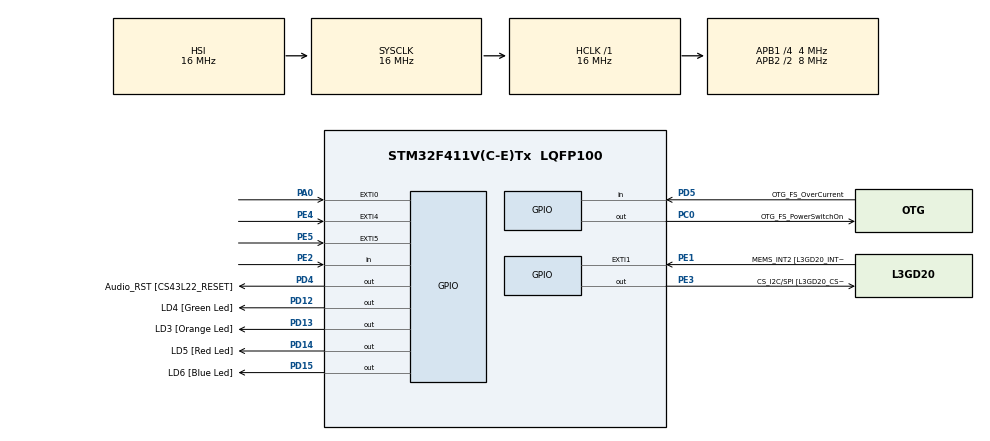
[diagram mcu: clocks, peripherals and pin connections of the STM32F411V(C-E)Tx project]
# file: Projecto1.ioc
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FREERTOS.INCLUDE_vTaskDelayUntil=1
FREERTOS.Tasks01=defaultTask,0,128,StartDefaultTask,Default,NULL,Dynamic,NULL,NULL
FREERTOS.configUSE_NEWLIB_REENTRANT=1
Mcu.Family=STM32F4
Mcu.Name=STM32F411V(C-E)Tx
Mcu.Package=LQFP100
NVIC.EXTI0_IRQn=true\:5\:0\:false\:false\:true\:true\:true\:true\:true
NVIC.PriorityGroup=NVIC_PRIORITYGROUP_4
NVIC.TIM3_IRQn=true\:15\:0\:false\:false\:true\:false\:false\:true\:true
NVIC.TimeBase=TIM3_IRQn
NVIC.TimeBaseIP=TIM3
PA0-WKUP.Signal=GPXTI0
PA10.GPIO_Label=OTG_FS_ID
PA10.Signal=USB_OTG_FS_ID
PA11.GPIO_Label=OTG_FS_DM
PA11.Signal=USB_OTG_FS_DM
PA12.GPIO_Label=OTG_FS_DP
PA12.Signal=USB_OTG_FS_DP
PA13.GPIO_Label=SWDIO
PA13.Mode=Serial_Wire
PA13.Signal=SYS_JTMS-SWDIO
PA14.GPIO_Label=SWCLK
PA14.Mode=Serial_Wire
PA14.Signal=SYS_JTCK-SWCLK
PA4.GPIO_Label=I2S3_WS [CS43L22_LRCK]
PA4.GPIO_Mode=GPIO_MODE_AF_PP
PA4.GPIO_PuPd=GPIO_NOPULL
PA4.GPIO_Speed=GPIO_SPEED_FREQ_LOW
PA4.Signal=I2S3_WS
PA5.GPIO_Label=SPI1_SCK [L3GD20_SC/SPC]
PA5.Signal=SPI1_SCK
PA6.GPIO_Label=SPI1_MISO [L3GD20_AS0/SDO]
PA6.Signal=SPI1_MISO
PA7.GPIO_Label=SPI1_MOSI [L3GD20_SDA/SDI/SDO]
PA7.Signal=SPI1_MOSI
PA9.GPIO_Label=VBUS_FS
PA9.Signal=USB_OTG_FS_VBUS
PB10.GPIO_Label=CLK_IN [MP45DT02_CLK]
PB10.Signal=I2S2_CK
PB12.Signal=I2S2_WS
PB3.GPIO_Label=SWO
PB3.Signal=SYS_JTDO-SWO
PB6.GPIO_Label=Audio_SCL [CS43L22_SCL]
PB6.GPIO_Mode=GPIO_MODE_AF_OD
PB6.GPIO_PuPd=GPIO_NOPULL
PB6.GPIO_Speed=GPIO_SPEED_FREQ_LOW
PB6.Signal=I2C1_SCL
PB9.GPIO_Label=Audio_SDA [CS43L22_SDA]
PB9.GPIO_Mode=GPIO_MODE_AF_OD
PB9.GPIO_PuPd=GPIO_NOPULL
PB9.GPIO_Speed=GPIO_SPEED_FREQ_LOW
PB9.Signal=I2C1_SDA
PC0.GPIO_Label=OTG_FS_PowerSwitchOn
PC0.PinState=GPIO_PIN_SET
PC0.Signal=GPIO_Output
PC10.GPIO_Label=I2S3_SCK [CS43L22_SCLK]
PC10.GPIO_Mode=GPIO_MODE_AF_PP
PC10.GPIO_PuPd=GPIO_NOPULL
PC10.GPIO_Speed=GPIO_SPEED_FREQ_LOW
PC10.Signal=I2S3_CK
PC12.GPIO_Label=I2S3_SD [CS43L22_SDIN]
PC12.GPIO_Mode=GPIO_MODE_AF_PP
PC12.GPIO_PuPd=GPIO_NOPULL
PC12.GPIO_Speed=GPIO_SPEED_FREQ_LOW
PC12.Signal=I2S3_SD
PC14-OSC32_IN.GPIO_Label=PC14-OSC32_IN
PC14-OSC32_IN.Signal=RCC_OSC32_IN
PC15-OSC32_OUT.GPIO_Label=PC15-OSC32_OUT
PC15-OSC32_OUT.Signal=RCC_OSC32_OUT
PC3.GPIO_Label=PDM_OUT [MP45DT02_DOUT]
PC3.Signal=I2S2_SD
PC7.GPIO_Label=I2S3_MCK [CS43L22_MCLK]
PC7.GPIO_Mode=GPIO_MODE_AF_PP
PC7.GPIO_PuPd=GPIO_NOPULL
PC7.GPIO_Speed=GPIO_SPEED_FREQ_LOW
PC7.Signal=I2S3_MCK
PD12.GPIO_Label=LD4 [Green Led]
PD12.GPIO_PuPd=GPIO_NOPULL
PD12.GPIO_Speed=GPIO_SPEED_FREQ_LOW
PD12.Signal=GPIO_Output
PD13.GPIO_Label=LD3 [Orange Led]
PD13.GPIO_PuPd=GPIO_NOPULL
PD13.GPIO_Speed=GPIO_SPEED_FREQ_LOW
PD13.Signal=GPIO_Output
PD14.GPIO_Label=LD5 [Red Led]
PD14.GPIO_PuPd=GPIO_NOPULL
PD14.GPIO_Speed=GPIO_SPEED_FREQ_LOW
PD14.Signal=GPIO_Output
PD15.GPIO_Label=LD6 [Blue Led]
PD15.GPIO_PuPd=GPIO_NOPULL
PD15.GPIO_Speed=GPIO_SPEED_FREQ_LOW
PD15.Signal=GPIO_Output
PD4.GPIO_Label=Audio_RST [CS43L22_RESET]
PD4.Signal=GPIO_Output
PD5.GPIO_Label=OTG_FS_OverCurrent
PD5.Signal=GPIO_Input
PE1.GPIO_Label=MEMS_INT2 [L3GD20_INT2]
PE1.GPIO_ModeDefaultEXTI=GPIO_MODE_EVT_RISING
PE1.Signal=GPXTI1
PE2.Signal=GPIO_Input
PE3.GPIO_Label=CS_I2C/SPI [L3GD20_CS_I2C/SPI]
PE3.Signal=GPIO_Output
PE4.GPIO_ModeDefaultEXTI=GPIO_MODE_EVT_RISING
PE4.Signal=GPXTI4
PE5.GPIO_ModeDefaultEXTI=GPIO_MODE_EVT_RISING
PE5.Signal=GPXTI5
PH0\ -\ OSC_IN.GPIO_Label=PH0-OSC_IN
PH0\ -\ OSC_IN.Signal=RCC_OSC_IN
PH1\ -\ OSC_OUT.GPIO_Label=PH1-OSC_OUT
PH1\ -\ OSC_OUT.Signal=RCC_OSC_OUT
ProjectManager.HeapSize=0x200
ProjectManager.StackSize=0x400
ProjectManager.TargetToolchain=STM32CubeIDE
RCC.48MHZClocksFreq_Value=48000000
RCC.AHBFreq_Value=16000000
RCC.APB1CLKDivider=RCC_HCLK_DIV4
RCC.APB1Freq_Value=4000000
RCC.APB1TimFreq_Value=8000000
RCC.APB2CLKDivider=RCC_HCLK_DIV2
RCC.APB2Freq_Value=8000000
RCC.APB2TimFreq_Value=16000000
RCC.CortexFreq_Value=16000000
RCC.HCLKFreq_Value=16000000
RCC.HSE_VALUE=8000000
RCC.HSI_VALUE=16000000
RCC.LSE_VALUE=32768
RCC.PLLI2SM=5
RCC.PLLI2SN=200
RCC.PLLM=8
RCC.PLLP=RCC_PLLP_DIV4
RCC.PLLQ=8
RCC.SYSCLKFreq_VALUE=16000000
RCC.VCOOutputFreq_Value=384000000
VP_FREERTOS_VS_CMSIS_V1.Mode=CMSIS_V1
VP_SYS_VS_tim3.Mode=TIM3
board=STM32F411E-DISCO

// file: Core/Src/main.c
/* USER CODE BEGIN Header */
/**
  ******************************************************************************
  * @file           : main.c
  * @brief          : Main program body
  ******************************************************************************
  * @attention
  *
  * Copyright (c) 2026 STMicroelectronics.
  * All rights reserved.
  *
  * This software is licensed under terms that can be found in the LICENSE file
  * in the root directory of this software component.
  * If no LICENSE file comes with this software, it is provided AS-IS.
  *
  ******************************************************************************
  */
/* USER CODE END Header */
#include "main.h"
#include "cmsis_os.h"

/* USER CODE BEGIN Includes */
#include "task.h"
#include "semphr.h"
/* USER CODE END Includes */

/* USER CODE BEGIN PTD */
const typedef struct {
	GPIO_TypeDef* port;
	uint16_t pin;
	uint16_t delay;
} toggleInstruction_typedef;

const typedef struct{
	GPIO_TypeDef* port;
	uint16_t pin;
	uint16_t delay;
	TaskHandle_t *task;
} toggleReadTaskInstruction_typedef;

/*

const typedef struct{
	GPIO_TypeDef *port;
	uint16_t on_pin;
	void *sem_on;
	uint16_t off_pin;
	void *sem_off;
}toggleSemaphoreInstruction_typedef; // UNUSED - made for generalizing Challenge 7

const typedef struct{
	GPIO_TypeDef *port;
	uint16_t pins[4];
	uint16_t delay;
	void *sem;
}multipleLedInstruction_typedef; // UNUSED - made for generalizing Challenge 8 and 9

const typedef struct{
	TaskHandle_t task;
	void *sem;
}taskSuspensionInstruction_typedef; // UNUSED - made for generalizing challenge 9

const typedef struct{
	GPIO_TypeDef *port;
	uint16_t pins[4];
	uint16_t delay;
	uint16_t timespan;
}actThenDeleteInstruction_typedef; // UNUSED - made for generalizing challenge 10
*/

/* USER CODE END PTD */

/* USER CODE BEGIN PD */
SemaphoreHandle_t semChallenge9 = NULL;
SemaphoreHandle_t semChallenge6 = NULL;

SemaphoreHandle_t sem1Ch7 = NULL;
SemaphoreHandle_t sem2Ch7 = NULL;
SemaphoreHandle_t sem3Ch7 = NULL;

SemaphoreHandle_t semCh8 = NULL;

void vTask1Ch1(void *pvParameters){
	while(1){
		HAL_GPIO_TogglePin(GPIOD, LD4_Pin);
		HAL_Delay(50);
	}
};

void vTask2Ch1(void *pvParameters){
	while(1){
		HAL_GPIO_TogglePin(GPIOD, LD3_Pin);
		HAL_Delay(100);
	}
};

void vTask3Ch1(void *pvParameters){
	while(1){
		HAL_GPIO_TogglePin(GPIOD, GPIO_PIN_14);
		HAL_Delay(200);
	}
};

void vTask4Ch1(void *pvParameters){
	while(1){
		HAL_GPIO_TogglePin(GPIOD, GPIO_PIN_15);
		HAL_Delay(400);
	}
};

void vChallenge1(){
	xTaskCreate(vTask1Ch1,"Task1",100,NULL,1,NULL);
	xTaskCreate(vTask2Ch1,"Task2",100,NULL,1,NULL);
	xTaskCreate(vTask3Ch1,"Task3",100,NULL,1,NULL);
	xTaskCreate(vTask4Ch1,"Task4",100,NULL,1,NULL);
};

void vTareaParpadeo(void *pvParameters){
	toggleInstruction_typedef *specific_pin = pvParameters;
	TickType_t delay = pdMS_TO_TICKS(specific_pin->delay);
	while(1){
        HAL_GPIO_TogglePin(specific_pin->port, specific_pin->pin);
        vTaskDelay(delay);
	};
};

static const toggleInstruction_typedef instructionsCh2[4] = {{GPIOD, LD4_Pin, 50}, {GPIOD, LD3_Pin, 100},  {GPIOD, LD5_Pin, 200}, {GPIOD, LD6_Pin, 400}};

void vChallenge2(){
    xTaskCreate(vTareaParpadeo, "Task1", 100, (void *) &instructionsCh2[0], 1, NULL);
    xTaskCreate(vTareaParpadeo, "Task2", 100, (void *) &instructionsCh2[1], 1, NULL);
    xTaskCreate(vTareaParpadeo, "Task3", 100, (void *) &instructionsCh2[2], 1, NULL);
    xTaskCreate(vTareaParpadeo, "Task4", 100, (void *) &instructionsCh2[3], 1, NULL);
};

void vTaskLEDCh3(void *pvParameters){
	toggleInstruction_typedef *instruction = pvParameters;
	while(1){
        HAL_GPIO_TogglePin(instruction->port, instruction->pin);
        HAL_Delay(instruction->delay);
	}
}

void vTaskButtonCh3(void *pvParameters){
	toggleInstruction_typedef *instruction = pvParameters;
	TickType_t delay = pdMS_TO_TICKS(instruction->delay); // This delay isn't for blinking the led, but for waking up the task for the polling!
	while(1){
		GPIO_PinState buttonState = HAL_GPIO_ReadPin(GPIOA,GPIO_PIN_0);
		// GPIO_PinState ledState = HAL_GPIO_ReadPin(instruction->port,instruction->pin);
		if(buttonState == GPIO_PIN_SET){
			//
			HAL_GPIO_WritePin(instruction->port,instruction->pin, GPIO_PIN_SET);
		}
		if(buttonState == GPIO_PIN_RESET){
			// Reset the button led (just once)
			HAL_GPIO_WritePin(instruction->port,instruction->pin, GPIO_PIN_RESET);
		}
		vTaskDelay(delay);
	}
}

const toggleInstruction_typedef instructionsCh3[2] = {{GPIOD, LD4_Pin, 500}, {GPIOD, LD3_Pin, 10}};
void vChallenge3(){
    xTaskCreate(vTaskLEDCh3, "LED task", 100, (void *) &instructionsCh3[0], 0, NULL);
    xTaskCreate(vTaskButtonCh3, "Button task", 100, (void *) &instructionsCh3[1], 1, NULL);

}

void vTask1Ch4(void *pvParameters){
	toggleInstruction_typedef *specific_pin = pvParameters;
	TickType_t delay = pdMS_TO_TICKS(specific_pin->delay);
	while(1){
        HAL_GPIO_TogglePin(specific_pin->port, specific_pin->pin);
        HAL_DELAY(100);
        vTaskDelay(delay);
	};
}

void vTask2Ch4(void *pvParameters){
	toggleInstruction_typedef *specific_pin = pvParameters;
	TickType_t tickCount = xTaskGetTickCount();
	TickType_t delay = pdMS_TO_TICKS(specific_pin->delay);
	while(1){
        HAL_GPIO_TogglePin(specific_pin->port, specific_pin->pin);
        HAL_DELAY(100);
        vTaskDelayUntil(&tickCount,delay);
	};
}

const toggleInstruction_typedef instructionsCh4[2] = {{GPIOD, LD4_Pin, 400}, {GPIOD, LD3_Pin, 500}};

void vChallenge4(){
    xTaskCreate(vTask1Ch4, "task1", 100, (void *) &instructionsCh4[0], 0, NULL);
    xTaskCreate(vTask2Ch4, "task2", 100, (void *) &instructionsCh4[1], 0, NULL);
}

void vTask1Ch5(void *pvParameters){

	toggleReadTaskInstruction_typedef *instruction = pvParameters;
	uint16_t actual_priority = 1;
	uint16_t button_interval = pdMS_TO_TICKS(3000);

	uint16_t time = 0; // Would ALL these (except waiting) be better off not initiated?
	uint16_t button_time = 0;
	uint16_t target_priority = 0;
	uint16_t waiting = pdFALSE;
	uint16_t interval = 0;
	// TickType_t tickCount = xTaskGetTickCount();
	GPIO_PinState buttonState = GPIO_PIN_RESET;

	while(1){
		buttonState = HAL_GPIO_ReadPin(GPIOA,GPIO_PIN_0);

		if(buttonState != GPIO_PIN_RESET){
			target_priority = uxTaskPriorityGet(*(instruction->task));
			vTaskPrioritySet(NULL, target_priority + (uint16_t) 1); // (uint16_t) Just in case !!
			button_time = HAL_GetTick();
			waiting = pdTRUE;
		}

		if(waiting == pdTRUE){
			time = HAL_GetTick();
			interval = time - button_time;
			if(interval >= button_interval){
				vTaskPrioritySet(NULL, actual_priority);
				waiting = pdFALSE;
			}
		}
		HAL_GPIO_TogglePin(instruction->port, instruction->pin);

		HAL_Delay(instruction->delay); // Not vTaskDelay! because that wouldn't starve the other task.
	}
}

void vChallenge5(){
	  static TaskHandle_t task2Handler = NULL;
	  static const toggleInstruction_typedef task2_instruction = {GPIOD, LD5_Pin, 50};
	  static toggleReadTaskInstruction_typedef task1_instruction = {GPIOD, LD4_Pin, 300, &task2Handler};
	  xTaskCreate(vTareaParpadeo,"Task2",100,(void *) &task2_instruction,1,&task2Handler);
	  xTaskCreate(vTask1Ch5,"Task1",100,(void *) &task1_instruction,1,NULL);
}

void vTask1Challenge6(void *pvParameters){
	uint16_t status;
	while(1){
		status = xSemaphoreTake(semChallenge6, 0);
		if(status == pdTRUE) {
			HAL_GPIO_TogglePin(GPIOD,LD3_Pin);
		}
	}
}

void vChallenge6(){
  semChallenge6 = xSemaphoreCreateBinary();
	const toggleInstruction_typedef taskInstruction = {GPIOD, LD4_Pin, 0};
	xTaskCreate(vTask1Challenge6,"Task1",100,(void *) &taskInstruction,1,NULL);
}

void vTask1Ch7(void *pvParameters){
	uint16_t status;
	while(1){
		status = xSemaphoreTake(sem3Ch7, 10);
		if(status == pdTRUE){
			HAL_GPIO_WritePin(GPIOD, LD5_Pin, GPIO_PIN_RESET);
			HAL_GPIO_WritePin(GPIOD, LD3_Pin, GPIO_PIN_SET);
			vTaskDelay(pdMS_TO_TICKS(500));
			status = xSemaphoreGive(sem1Ch7);
		}
	}
}

void vTask2Ch7(void *pvParameters){
	uint16_t status;
	while(1){
		status = xSemaphoreTake(sem1Ch7, 10);
		if(status == pdTRUE){
			HAL_GPIO_WritePin(GPIOD, LD3_Pin, GPIO_PIN_RESET);
			HAL_GPIO_WritePin(GPIOD, LD4_Pin, GPIO_PIN_SET);
			vTaskDelay(pdMS_TO_TICKS(500));
			status = xSemaphoreGive(sem2Ch7);
		}
	}
}

void vTask3Ch7(void *pvParameters){
	uint16_t status;
	while(1){
		status = xSemaphoreTake(sem2Ch7, 10);
		if(status == pdTRUE){
			HAL_GPIO_WritePin(GPIOD, LD4_Pin, GPIO_PIN_RESET);
			HAL_GPIO_WritePin(GPIOD, LD5_Pin, GPIO_PIN_SET);
			vTaskDelay(pdMS_TO_TICKS(500));
			status = xSemaphoreGive(sem3Ch7);
		}
	}
}

void vChallenge7(){
	sem1Ch7 = xSemaphoreCreateBinary();
	sem2Ch7 = xSemaphoreCreateBinary();
	sem3Ch7 = xSemaphoreCreateBinary();

	xSemaphoreGive(sem3Ch7);

	xTaskCreate(vTask1Ch7,"Task",256,NULL,1,NULL);
	xTaskCreate(vTask2Ch7,"Task",256,NULL,1,NULL);
	xTaskCreate(vTask3Ch7,"Task",256,NULL,1,NULL);

	osKernelStart();
}

void vTaskSequentialBlinkCh8(void *pvParameters){

	uint16_t leds[4] = {LD3_Pin,LD4_Pin,LD5_Pin,LD6_Pin};
	TickType_t delay = pdMS_TO_TICKS(300);
	// TickType_t tickCount = xTaskGetTickCount();
	uint16_t sem_taken = pdFALSE;
	uint16_t counter = 0;
	GPIO_PinState ledState;

	while(1){
		if(sem_taken == pdTRUE){
			ledState = HAL_GPIO_ReadPin(GPIOD, leds[counter]);
			if(ledState == GPIO_PIN_SET){
				HAL_GPIO_WritePin(GPIOD,leds[counter],GPIO_PIN_RESET);
				counter ++;
				if(counter == 4){
					sem_taken = pdFALSE;
					counter = 0;
					xSemaphoreGive(semCh8);
				}
			}
			else{
				HAL_GPIO_WritePin(GPIOD,leds[counter],GPIO_PIN_SET);
			}
			vTaskDelay(delay); //vTaskDelayUntil breaks things!
		}
		else{
			sem_taken = xSemaphoreTake(semCh8, 0);
		}
	}
}

void vTaskParallelBlinkCh8(void *pvParameters){

	uint16_t leds[4] = {LD3_Pin,LD4_Pin,LD5_Pin,LD6_Pin};
	TickType_t delay = pdMS_TO_TICKS(300);
	// TickType_t tickCount = xTaskGetTickCount();
	uint16_t sem_taken = pdFALSE;
	GPIO_PinState ledState;

	while(1){
		if(sem_taken == pdTRUE){
			ledState = HAL_GPIO_ReadPin(GPIOD,leds[0]);
			if(ledState == GPIO_PIN_RESET){
				for(uint16_t i = 0; i < 4; i++) HAL_GPIO_WritePin(GPIOD,leds[i],GPIO_PIN_SET);
			}
			else{
				for(uint16_t i = 0; i < 4; i++) HAL_GPIO_WritePin(GPIOD,leds[i],GPIO_PIN_RESET);
				xSemaphoreGive(semCh8);
				sem_taken = pdFALSE;
			}
			vTaskDelay(delay); //vTaskDelayUntil breaks things!
		}
		else{
			sem_taken = xSemaphoreTake(semCh8,0);
		}
}}

void vChallenge8(){
	semCh8 = xSemaphoreCreateMutex();
	xTaskCreate(vTaskSequentialBlinkCh8,"Sequential",100,NULL,1,NULL);
	xTaskCreate(vTaskParallelBlinkCh8,"Parallel",100,NULL,1,NULL);
}

void vTaskSequentialBlinkCh9(void *pvParameters){
	TickType_t delay = pdMS_TO_TICKS(500);
	TickType_t tickCount = xTaskGetTickCount();
	uint16_t counter = 0;
	GPIO_PinState ledState;
	uint16_t leds[4] = {LD3_Pin,LD4_Pin,LD5_Pin,LD6_Pin};

		while(1){
			ledState = HAL_GPIO_ReadPin(GPIOD, leds[counter]);
			if(ledState == GPIO_PIN_SET){
				HAL_GPIO_WritePin(GPIOD,leds[counter],GPIO_PIN_RESET);
				counter = (counter + 1) % 4;
			}
			else{
				HAL_GPIO_WritePin(GPIOD,leds[counter],GPIO_PIN_SET);
			}
			vTaskDelayUntil(&tickCount,delay);
			}
}

void vTaskButtonControlCh9(void *pvParameters){
	TaskHandle_t instruction = pvParameters;
	uint16_t status = pdFALSE;
	while(1){
		status = xSemaphoreTake(semChallenge9,portMAX_DELAY);
		if(status == pdTRUE) {
			vTaskSuspend(instruction);
			status = xSemaphoreTake(semChallenge9,portMAX_DELAY);
			if(status == pdTRUE) {
				vTaskResume(instruction);
			}
		}
	}
}

void vChallenge9(){
  semChallenge9 = xSemaphoreCreateBinary();
	TaskHandle_t taskHandler = NULL;
	xTaskCreate(vTaskSequentialBlinkCh9,"Sequential",100,(void *)NULL,1,&taskHandler);
	xTaskCreate(vTaskButtonControlCh9,"Button",100,(void *)taskHandler,1,NULL);

}

void vLightShowCh10(void *pvParameters){
	const uint16_t leds[4] = {LD3_Pin,LD4_Pin,LD5_Pin,LD6_Pin};
	TickType_t lifespan = pdMS_TO_TICKS(10000);
	TickType_t spawn_time = xTaskGetTickCount();
	TickType_t tickCounter = xTaskGetTickCount();
	TickType_t delay = pdMS_TO_TICKS(300);
	TickType_t dtime = 0;

	uint16_t counter = 0;
	GPIO_PinState ledState;

	while(1){
		ledState = HAL_GPIO_ReadPin(GPIOD, leds[counter]);
		if(ledState == GPIO_PIN_SET){
			HAL_GPIO_WritePin(GPIOD,leds[counter],GPIO_PIN_RESET);
			counter = (counter + 1) % 4;
		}
		else{
			HAL_GPIO_WritePin(GPIOD,leds[counter],GPIO_PIN_SET);
		}
		dtime = xTaskGetTickCount() - spawn_time;
		if(dtime >= lifespan)
			vTaskDelete(NULL);
		else
			vTaskDelayUntil(&tickCounter, delay);
	}
}

void vChallenge10(){
	xTaskCreate(vLightShowCh10,"task1",100,(void *)NULL,1,NULL);
}
/* USER CODE END PD */

osThreadId defaultTaskHandle;

void SystemClock_Config(void);
static void MX_GPIO_Init(void);
void StartDefaultTask(void const * argument);

int main(void)
{

  /* MCU Configuration--------------------------------------------------------*/

  /* Reset of all peripherals, Initializes the Flash interface and the Systick. */
  HAL_Init();

  /* Configure the system clock */
  SystemClock_Config();

  /* Initialize all configured peripherals */
  MX_GPIO_Init();

  /* Create the thread(s) */
  /* definition and creation of defaultTask */
  osThreadDef(defaultTask, StartDefaultTask, osPriorityNormal, 0, 128);
  defaultTaskHandle = osThreadCreate(osThread(defaultTask), NULL);

  /* USER CODE BEGIN RTOS_THREADS */
  // UNCOMMENT THE DESIRED CHALLENGE

  // vChallenge1();
  // vChallenge2();
  // vChallenge3();
  // vChallenge4();
  // vChallenge5();
  // vChallenge6();
  // vChallenge7();
  // vChallenge8();
  // vChallenge9();
  // vChallenge10();

  /* USER CODE END RTOS_THREADS */

  /* Start scheduler */
  osKernelStart();

  /* We should never get here as control is now taken by the scheduler */

  /* Infinite loop */
  while (1)
  {

  }
}

void SystemClock_Config(void)
{
  RCC_OscInitTypeDef RCC_OscInitStruct = {0};
  RCC_ClkInitTypeDef RCC_ClkInitStruct = {0};

  /** Configure the main internal regulator output voltage
  */
  __HAL_RCC_PWR_CLK_ENABLE();
  __HAL_PWR_VOLTAGESCALING_CONFIG(PWR_REGULATOR_VOLTAGE_SCALE1);

  /** Initializes the RCC Oscillators according to the specified parameters
  * in the RCC_OscInitTypeDef structure.
  */
  RCC_OscInitStruct.OscillatorType = RCC_OSCILLATORTYPE_HSI;
  RCC_OscInitStruct.HSIState = RCC_HSI_ON;
  RCC_OscInitStruct.HSICalibrationValue = RCC_HSICALIBRATION_DEFAULT;
  RCC_OscInitStruct.PLL.PLLState = RCC_PLL_NONE;
  if (HAL_RCC_OscConfig(&RCC_OscInitStruct) != HAL_OK)
  {
    Error_Handler();
  }

  /** Initializes the CPU, AHB and APB buses clocks
  */
  RCC_ClkInitStruct.ClockType = RCC_CLOCKTYPE_HCLK|RCC_CLOCKTYPE_SYSCLK
                              |RCC_CLOCKTYPE_PCLK1|RCC_CLOCKTYPE_PCLK2;
  RCC_ClkInitStruct.SYSCLKSource = RCC_SYSCLKSOURCE_HSI;
  RCC_ClkInitStruct.AHBCLKDivider = RCC_SYSCLK_DIV1;
  RCC_ClkInitStruct.APB1CLKDivider = RCC_HCLK_DIV4;
  RCC_ClkInitStruct.APB2CLKDivider = RCC_HCLK_DIV2;

  if (HAL_RCC_ClockConfig(&RCC_ClkInitStruct, FLASH_LATENCY_0) != HAL_OK)
  {
    Error_Handler();
  }
}

static void MX_GPIO_Init(void)
{
  GPIO_InitTypeDef GPIO_InitStruct = {0};

  /* GPIO Ports Clock Enable */
  __HAL_RCC_GPIOE_CLK_ENABLE();
  __HAL_RCC_GPIOC_CLK_ENABLE();
  __HAL_RCC_GPIOH_CLK_ENABLE();
  __HAL_RCC_GPIOA_CLK_ENABLE();
  __HAL_RCC_GPIOB_CLK_ENABLE();
  __HAL_RCC_GPIOD_CLK_ENABLE();

  /*Configure GPIO pin Output Level */
  HAL_GPIO_WritePin(CS_I2C_SPI_GPIO_Port, CS_I2C_SPI_Pin, GPIO_PIN_RESET);

  /*Configure GPIO pin Output Level */
  HAL_GPIO_WritePin(OTG_FS_PowerSwitchOn_GPIO_Port, OTG_FS_PowerSwitchOn_Pin, GPIO_PIN_SET);

  /*Configure GPIO pin Output Level */
  HAL_GPIO_WritePin(GPIOD, LD4_Pin|LD3_Pin|LD5_Pin|LD6_Pin
                          |Audio_RST_Pin, GPIO_PIN_RESET);

  /*Configure GPIO pin : PE2 */
  GPIO_InitStruct.Pin = GPIO_PIN_2;
  GPIO_InitStruct.Mode = GPIO_MODE_INPUT;
  GPIO_InitStruct.Pull = GPIO_NOPULL;
  HAL_GPIO_Init(GPIOE, &GPIO_InitStruct);

  /*Configure GPIO pin : CS_I2C_SPI_Pin */
  GPIO_InitStruct.Pin = CS_I2C_SPI_Pin;
  GPIO_InitStruct.Mode = GPIO_MODE_OUTPUT_PP;
  GPIO_InitStruct.Pull = GPIO_NOPULL;
  GPIO_InitStruct.Speed = GPIO_SPEED_FREQ_LOW;
  HAL_GPIO_Init(CS_I2C_SPI_GPIO_Port, &GPIO_InitStruct);

  /*Configure GPIO pins : PE4 PE5 MEMS_INT2_Pin */
  GPIO_InitStruct.Pin = GPIO_PIN_4|GPIO_PIN_5|MEMS_INT2_Pin;
  GPIO_InitStruct.Mode = GPIO_MODE_EVT_RISING;
  GPIO_InitStruct.Pull = GPIO_NOPULL;
  HAL_GPIO_Init(GPIOE, &GPIO_InitStruct);

  /*Configure GPIO pin : OTG_FS_PowerSwitchOn_Pin */
  GPIO_InitStruct.Pin = OTG_FS_PowerSwitchOn_Pin;
  GPIO_InitStruct.Mode = GPIO_MODE_OUTPUT_PP;
  GPIO_InitStruct.Pull = GPIO_NOPULL;
  GPIO_InitStruct.Speed = GPIO_SPEED_FREQ_LOW;
  HAL_GPIO_Init(OTG_FS_PowerSwitchOn_GPIO_Port, &GPIO_InitStruct);

  /*Configure GPIO pin : PDM_OUT_Pin */
  GPIO_InitStruct.Pin = PDM_OUT_Pin;
  GPIO_InitStruct.Mode = GPIO_MODE_AF_PP;
  GPIO_InitStruct.Pull = GPIO_NOPULL;
  GPIO_InitStruct.Speed = GPIO_SPEED_FREQ_LOW;
  GPIO_InitStruct.Alternate = GPIO_AF5_SPI2;
  HAL_GPIO_Init(PDM_OUT_GPIO_Port, &GPIO_InitStruct);

  /*Configure GPIO pin : PA0 */
  GPIO_InitStruct.Pin = GPIO_PIN_0;
  GPIO_InitStruct.Mode = GPIO_MODE_IT_RISING;
  GPIO_InitStruct.Pull = GPIO_NOPULL;
  HAL_GPIO_Init(GPIOA, &GPIO_InitStruct);

  /*Configure GPIO pin : I2S3_WS_Pin */
  GPIO_InitStruct.Pin = I2S3_WS_Pin;
  GPIO_InitStruct.Mode = GPIO_MODE_AF_PP;
  GPIO_InitStruct.Pull = GPIO_NOPULL;
  GPIO_InitStruct.Speed = GPIO_SPEED_FREQ_LOW;
  GPIO_InitStruct.Alternate = GPIO_AF6_SPI3;
  HAL_GPIO_Init(I2S3_WS_GPIO_Port, &GPIO_InitStruct);

  /*Configure GPIO pins : SPI1_SCK_Pin SPI1_MISO_Pin SPI1_MOSI_Pin */
  GPIO_InitStruct.Pin = SPI1_SCK_Pin|SPI1_MISO_Pin|SPI1_MOSI_Pin;
  GPIO_InitStruct.Mode = GPIO_MODE_AF_PP;
  GPIO_InitStruct.Pull = GPIO_NOPULL;
  GPIO_InitStruct.Speed = GPIO_SPEED_FREQ_VERY_HIGH;
  GPIO_InitStruct.Alternate = GPIO_AF5_SPI1;
  HAL_GPIO_Init(GPIOA, &GPIO_InitStruct);

  /*Configure GPIO pins : CLK_IN_Pin PB12 */
  GPIO_InitStruct.Pin = CLK_IN_Pin|GPIO_PIN_12;
  GPIO_InitStruct.Mode = GPIO_MODE_AF_PP;
  GPIO_InitStruct.Pull = GPIO_NOPULL;
  GPIO_InitStruct.Speed = GPIO_SPEED_FREQ_LOW;
  GPIO_InitStruct.Alternate = GPIO_AF5_SPI2;
  HAL_GPIO_Init(GPIOB, &GPIO_InitStruct);

  /*Configure GPIO pins : LD4_Pin LD3_Pin LD5_Pin LD6_Pin
                           Audio_RST_Pin */
  GPIO_InitStruct.Pin = LD4_Pin|LD3_Pin|LD5_Pin|LD6_Pin
                          |Audio_RST_Pin;
  GPIO_InitStruct.Mode = GPIO_MODE_OUTPUT_PP;
  GPIO_InitStruct.Pull = GPIO_NOPULL;
  GPIO_InitStruct.Speed = GPIO_SPEED_FREQ_LOW;
  HAL_GPIO_Init(GPIOD, &GPIO_InitStruct);

  /*Configure GPIO pins : I2S3_MCK_Pin I2S3_SCK_Pin I2S3_SD_Pin */
  GPIO_InitStruct.Pin = I2S3_MCK_Pin|I2S3_SCK_Pin|I2S3_SD_Pin;
  GPIO_InitStruct.Mode = GPIO_MODE_AF_PP;
  GPIO_InitStruct.Pull = GPIO_NOPULL;
  GPIO_InitStruct.Speed = GPIO_SPEED_FREQ_LOW;
  GPIO_InitStruct.Alternate = GPIO_AF6_SPI3;
  HAL_GPIO_Init(GPIOC, &GPIO_InitStruct);

  /*Configure GPIO pin : VBUS_FS_Pin */
  GPIO_InitStruct.Pin = VBUS_FS_Pin;
  GPIO_InitStruct.Mode = GPIO_MODE_INPUT;
  GPIO_InitStruct.Pull = GPIO_NOPULL;
  HAL_GPIO_Init(VBUS_FS_GPIO_Port, &GPIO_InitStruct);

  /*Configure GPIO pins : OTG_FS_ID_Pin OTG_FS_DM_Pin OTG_FS_DP_Pin */
  GPIO_InitStruct.Pin = OTG_FS_ID_Pin|OTG_FS_DM_Pin|OTG_FS_DP_Pin;
  GPIO_InitStruct.Mode = GPIO_MODE_AF_PP;
  GPIO_InitStruct.Pull = GPIO_NOPULL;
  GPIO_InitStruct.Speed = GPIO_SPEED_FREQ_VERY_HIGH;
  GPIO_InitStruct.Alternate = GPIO_AF10_OTG_FS;
  HAL_GPIO_Init(GPIOA, &GPIO_InitStruct);

  /*Configure GPIO pin : OTG_FS_OverCurrent_Pin */
  GPIO_InitStruct.Pin = OTG_FS_OverCurrent_Pin;
  GPIO_InitStruct.Mode = GPIO_MODE_INPUT;
  GPIO_InitStruct.Pull = GPIO_NOPULL;
  HAL_GPIO_Init(OTG_FS_OverCurrent_GPIO_Port, &GPIO_InitStruct);

  /*Configure GPIO pins : Audio_SCL_Pin Audio_SDA_Pin */
  GPIO_InitStruct.Pin = Audio_SCL_Pin|Audio_SDA_Pin;
  GPIO_InitStruct.Mode = GPIO_MODE_AF_OD;
  GPIO_InitStruct.Pull = GPIO_NOPULL;
  GPIO_InitStruct.Speed = GPIO_SPEED_FREQ_LOW;
  GPIO_InitStruct.Alternate = GPIO_AF4_I2C1;
  HAL_GPIO_Init(GPIOB, &GPIO_InitStruct);

  /* EXTI interrupt init*/
  HAL_NVIC_SetPriority(EXTI0_IRQn, 5, 0);
  HAL_NVIC_EnableIRQ(EXTI0_IRQn);

}

/* USER CODE BEGIN 4 */
void HAL_GPIO_EXTI_Callback(uint16_t GPIO_Pin)
{
	xSemaphoreGiveFromISR(semChallenge6,NULL);
	xSemaphoreGiveFromISR(semChallenge9,NULL);
}
/* USER CODE END 4 */

void StartDefaultTask(void const * argument)
{
  for(;;)
  {
    osDelay(1);
  }
}

void HAL_TIM_PeriodElapsedCallback(TIM_HandleTypeDef *htim)
{
  if (htim->Instance == TIM3)
  {
    HAL_IncTick();
  }
}

void Error_Handler(void)
{
  __disable_irq();
  while (1)
  {
  }
}
